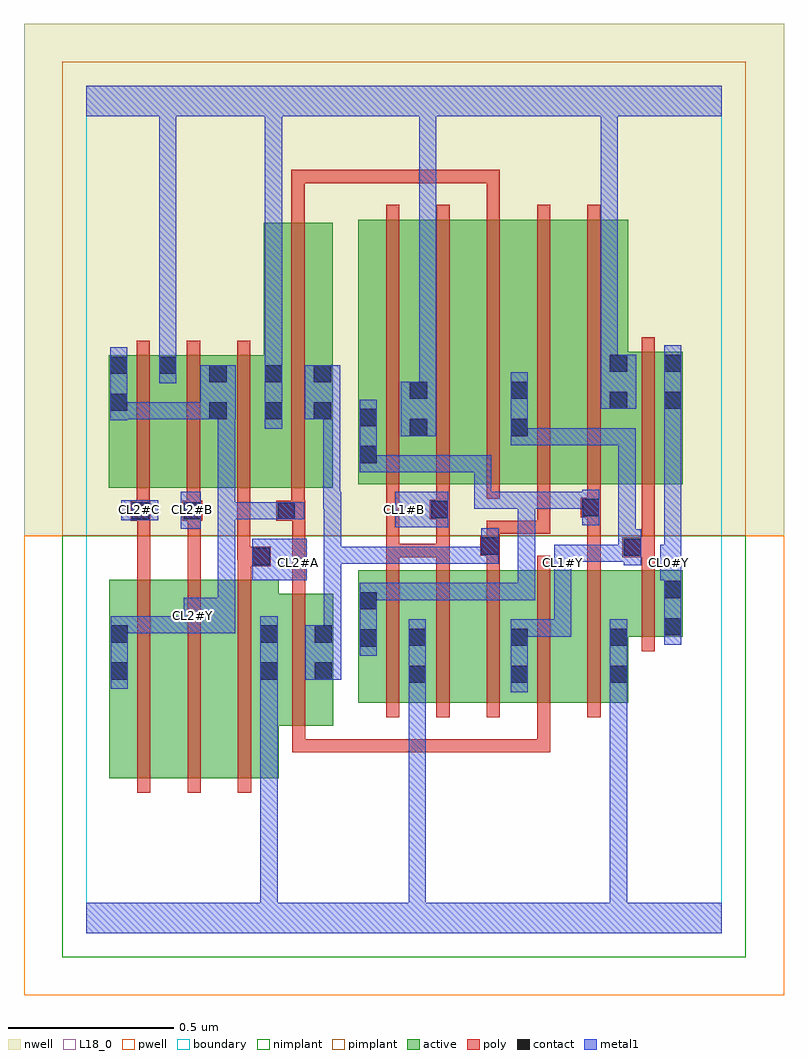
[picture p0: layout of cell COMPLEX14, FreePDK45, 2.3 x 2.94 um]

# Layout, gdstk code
import gdstk
lib = gdstk.Library(unit=1e-6, precision=1e-09)
def R(c, l, rs):  # rectangles x0, y0, x1, y1
    for r in rs: c.add(gdstk.rectangle(r[:2], r[2:], *l))
def A(c, l, x, y, w, h, nx, ny, dx, dy):  # array of equal rectangles
    R(c, l, [(x+i*dx, y+j*dy, x+i*dx+w, y+j*dy+h) for i in range(nx) for j in range(ny)])
active = (1, 0)
pwell = (2, 0)
nwell = (3, 0)
nimplant = (4, 0)
pimplant = (5, 0)
poly = (9, 0)
contact = (10, 0)
metal1 = (11, 0)
L18_0 = (18, 0)
boundary = (235, 0)

complex14 = lib.new_cell('COMPLEX14')
R(complex14, active, [(0.07,0.468,0.25,1.068), (0.25,0.468,0.402,1.068), (0.402,0.468,0.582,1.068), (0.07,0.556,0.13,1.068), (0.522,0.626,0.746,1.026), (0.822,0.696,1.03,1.096), (0.97,0.696,1.154,1.096), (1.154,0.696,1.338,1.096), (1.278,0.696,1.458,1.096), (1.458,0.696,1.638,1.096), (0.97,0.752,1.03,0.924), (1.278,0.752,1.338,0.924), (1.578,0.752,1.638,0.952), (0.522,0.756,0.582,0.934), (0.686,0.756,0.746,1.026), (0.822,0.756,0.882,1.096), (1.578,0.896,1.802,1.096), (1.742,0.896,1.802,1.096), (0.068,1.346,0.276,1.746), (0.068,1.346,0.128,1.746), (0.216,1.346,0.428,1.746), (0.368,1.346,0.596,1.746), (0.536,1.346,0.744,2.146), (0.684,1.346,0.744,2.044), (0.822,1.356,1.034,2.156), (0.822,1.356,0.882,2.044), (0.974,1.356,1.154,2.156), (1.154,1.356,1.338,2.156), (1.278,1.356,1.458,2.156), (1.458,1.356,1.638,2.156), (1.578,1.356,1.802,1.756), (1.742,1.356,1.802,1.756), (0.536,1.366,0.596,2.146), (1.578,1.416,1.638,1.752), (0.368,1.418,0.428,1.746), (0.974,1.498,1.034,2.044), (1.278,1.498,1.338,2.044), (0.216,1.556,0.276,1.746)])
R(complex14, pwell, [(-0.188,-0.188,2.108,1.2)])
R(complex14, nwell, [(-0.188,1.2,2.108,2.748)])
R(complex14, nimplant, [(-0.072,-0.072,1.992,1.2)])
R(complex14, pimplant, [(-0.072,1.2,1.992,2.632)])
A(complex14, poly, 0.154, 0.424, 0.04, 0.688, 3, 1, 0.152, 0)
A(complex14, poly, 0.906, 0.652, 0.04, 0.488, 5, 1, 0.152, 0)
A(complex14, poly, 0.152, 1.302, 0.04, 0.488, 3, 1, 0.152, 0)
A(complex14, poly, 0.906, 1.312, 0.04, 0.888, 5, 1, 0.152, 0)
R(complex14, poly, [(0.622,0.546,0.662,0.586), (0.622,0.546,0.662,0.622), (0.622,0.546,0.84,0.586), (0.8,0.546,0.84,0.586), (0.8,0.546,0.84,0.586), (0.8,0.546,0.84,0.586), (0.8,0.546,0.946,0.586), (0.906,0.546,0.946,0.586), (0.906,0.546,0.946,0.586), (0.906,0.546,0.946,0.586), (0.906,0.546,1.052,0.586), (1.012,0.546,1.052,0.586), (1.012,0.546,1.052,0.586), (1.012,0.546,1.052,0.586), (1.012,0.546,1.23,0.586), (1.19,0.546,1.23,0.586), (1.19,0.546,1.402,0.586), (1.362,0.546,1.402,0.586), (1.362,0.546,1.402,0.586), (1.362,0.546,1.402,0.586), (1.362,0.546,1.402,0.692), (0.622,0.582,0.662,1.07), (1.678,0.852,1.718,1.14), (0.622,1.03,0.662,1.286), (0.154,1.072,0.194,1.286), (0.306,1.072,0.346,1.286), (0.458,1.072,0.498,1.148), (0.906,1.1,0.946,1.176), (1.058,1.1,1.098,1.176), (1.21,1.1,1.25,1.18), (1.514,1.1,1.554,1.296), (1.678,1.1,1.718,1.176), (0.458,1.108,0.558,1.168), (0.456,1.128,0.496,1.342), (0.456,1.128,0.498,1.168), (0.458,1.128,0.498,1.168), (0.906,1.136,0.946,1.176), (0.906,1.136,0.946,1.176), (0.906,1.136,0.946,1.176), (0.906,1.136,0.946,1.176), (0.906,1.136,0.946,1.176), (0.906,1.136,1.098,1.176), (0.906,1.136,0.946,1.352), (1.058,1.136,1.098,1.176), (1.058,1.136,1.098,1.29), (1.62,1.136,1.718,1.196), (1.19,1.14,1.25,1.2), (1.678,1.156,1.718,1.352), (1.678,1.156,1.718,1.196), (1.678,1.156,1.718,1.196), (1.21,1.16,1.25,1.2), (1.21,1.16,1.25,1.246), (1.21,1.206,1.402,1.246), (1.362,1.206,1.402,1.246), (1.362,1.206,1.402,1.246), (1.362,1.206,1.402,1.246), (1.362,1.206,1.402,1.352), (0.134,1.246,0.194,1.306), (0.154,1.246,0.194,1.286), (0.154,1.246,0.194,1.286), (0.29,1.246,0.35,1.306), (0.306,1.246,0.346,1.286), (0.306,1.246,0.346,1.286), (0.574,1.246,0.662,1.306), (0.622,1.246,0.662,1.286), (0.622,1.246,0.662,1.286), (1.038,1.25,1.098,1.31), (1.494,1.256,1.554,1.316), (1.514,1.256,1.554,1.296), (1.514,1.256,1.554,1.296), (0.152,1.266,0.192,1.342), (0.304,1.266,0.344,1.342), (0.62,1.266,0.66,1.342), (1.058,1.27,1.098,1.352), (1.514,1.276,1.554,1.352), (0.62,1.302,0.66,2.19), (1.678,1.312,1.718,1.8), (0.62,2.15,0.66,2.306), (1.21,2.16,1.25,2.306), (0.62,2.266,0.66,2.306), (0.62,2.266,0.84,2.306), (0.8,2.266,0.84,2.306), (0.8,2.266,0.84,2.306), (0.8,2.266,0.84,2.306), (0.8,2.266,0.946,2.306), (0.906,2.266,0.946,2.306), (0.906,2.266,0.946,2.306), (0.906,2.266,0.946,2.306), (0.906,2.266,1.124,2.306), (1.084,2.266,1.124,2.306), (1.084,2.266,1.124,2.306), (1.084,2.266,1.124,2.306), (1.084,2.266,1.25,2.306), (1.21,2.266,1.25,2.306)])
R(complex14, contact, [(0.974,0.756,1.026,0.808), (1.282,0.756,1.334,0.808), (1.582,0.756,1.634,0.808), (0.074,0.766,0.126,0.818), (0.526,0.766,0.578,0.818), (0.69,0.766,0.742,0.818), (0.826,0.866,0.878,0.918), (0.974,0.868,1.026,0.92), (1.282,0.868,1.334,0.92), (1.582,0.868,1.634,0.92), (0.074,0.878,0.126,0.93), (0.526,0.878,0.578,0.93), (0.69,0.878,0.742,0.93), (1.746,0.9,1.798,0.952), (0.826,0.978,0.878,1.03), (1.746,1.012,1.798,1.064), (0.502,1.112,0.554,1.164), (1.624,1.14,1.676,1.192), (1.194,1.144,1.246,1.196), (0.138,1.25,0.19,1.302), (0.294,1.25,0.346,1.302), (0.578,1.25,0.63,1.302), (1.042,1.254,1.094,1.306), (1.498,1.26,1.55,1.312), (0.826,1.42,0.878,1.472), (0.978,1.502,1.03,1.554), (1.282,1.502,1.334,1.554), (0.826,1.532,0.878,1.584), (0.372,1.552,0.424,1.604), (0.54,1.552,0.592,1.604), (0.688,1.552,0.74,1.604), (0.072,1.578,0.124,1.63), (1.582,1.584,1.634,1.636), (1.746,1.584,1.798,1.636), (0.978,1.614,1.03,1.666), (1.282,1.614,1.334,1.666), (0.372,1.664,0.424,1.716), (0.54,1.664,0.592,1.716), (0.688,1.664,0.74,1.716), (0.072,1.69,0.124,1.742), (0.22,1.69,0.272,1.742), (1.582,1.696,1.634,1.748), (1.746,1.696,1.798,1.748)])
R(complex14, metal1, [(0,0,1.92,0.092), (0.526,0.04,0.578,0.092), (0.526,0.04,0.578,0.092), (0.526,0.04,0.578,0.092), (0.526,0.04,0.578,0.092), (0.526,0.04,0.578,0.092), (0.526,0.04,0.578,0.092), (0.526,0.04,0.578,0.79), (0.974,0.04,1.026,0.092), (0.974,0.04,1.026,0.092), (0.974,0.04,1.026,0.092), (0.974,0.04,1.026,0.092), (0.974,0.04,1.026,0.092), (0.974,0.04,1.026,0.092), (0.974,0.04,1.026,0.092), (0.974,0.04,1.026,0.092), (0.974,0.04,1.026,0.78), (1.582,0.04,1.634,0.092), (1.582,0.04,1.634,0.092), (1.582,0.04,1.634,0.092), (1.582,0.04,1.634,0.092), (1.582,0.04,1.634,0.092), (1.582,0.04,1.634,0.092), (1.582,0.04,1.634,0.092), (1.582,0.04,1.634,0.092), (1.582,0.04,1.634,0.092), (1.582,0.04,1.634,0.092), (1.582,0.04,1.634,0.092), (1.582,0.04,1.634,0.092), (1.582,0.04,1.634,0.78), (0.974,0.728,1.026,0.78), (0.974,0.728,1.026,0.78), (0.974,0.728,1.026,0.78), (0.974,0.728,1.026,0.78), (0.974,0.728,1.026,0.948), (1.282,0.728,1.334,0.948), (1.582,0.728,1.634,0.948), (0.074,0.738,0.126,0.958), (0.526,0.738,0.578,0.79), (0.526,0.738,0.578,0.79), (0.526,0.738,0.578,0.958), (0.662,0.766,0.77,0.93), (0.826,0.838,0.878,1.058), (1.746,0.872,1.798,1.092), (0.718,0.878,0.77,1.168), (1.282,0.896,1.356,0.948), (1.304,0.896,1.356,0.948), (1.304,0.896,1.466,0.948), (1.414,0.896,1.466,0.948), (1.414,0.896,1.466,0.948), (1.414,0.896,1.466,0.948), (1.414,0.896,1.466,1.118), (0.074,0.906,0.126,0.958), (0.074,0.906,0.126,0.958), (0.074,0.906,0.236,0.958), (0.184,0.906,0.236,0.958), (0.184,0.906,0.236,0.958), (0.184,0.906,0.236,0.958), (0.184,0.906,0.346,0.958), (0.294,0.906,0.346,0.958), (0.294,0.906,0.346,0.958), (0.294,0.906,0.45,1.014), (0.398,0.962,0.45,1.302), (0.826,1.006,0.878,1.058), (0.826,1.006,0.878,1.058), (0.826,1.006,0.988,1.058), (0.936,1.006,0.988,1.058), (0.936,1.006,0.988,1.058), (0.936,1.006,0.988,1.058), (0.936,1.006,1.208,1.058), (1.156,1.006,1.208,1.058), (1.156,1.006,1.208,1.058), (1.156,1.006,1.208,1.058), (1.156,1.006,1.356,1.058), (1.304,1.006,1.356,1.058), (1.304,1.006,1.356,1.058), (1.304,1.006,1.356,1.058), (1.304,1.006,1.356,1.334), (1.746,1.04,1.798,1.118), (0.502,1.066,0.666,1.192), (1.414,1.066,1.466,1.174), (1.734,1.066,1.798,1.174), (1.624,1.112,1.676,1.22), (0.718,1.116,0.77,1.168), (0.718,1.116,0.878,1.168), (0.718,1.116,0.77,1.334), (0.826,1.116,0.878,1.168), (0.826,1.116,0.878,1.168), (0.826,1.116,0.878,1.168), (0.826,1.116,1.098,1.168), (1.046,1.116,1.098,1.168), (1.046,1.116,1.098,1.168), (1.046,1.116,1.098,1.168), (1.046,1.116,1.224,1.168), (1.172,1.116,1.224,1.168), (1.172,1.116,1.246,1.168), (1.194,1.116,1.246,1.224), (1.414,1.122,1.466,1.174), (1.414,1.122,1.466,1.174), (1.414,1.122,1.66,1.174), (1.608,1.122,1.66,1.174), (1.608,1.122,1.66,1.174), (1.608,1.122,1.66,1.174), (1.608,1.122,1.676,1.174), (1.608,1.122,1.66,1.526), (1.746,1.122,1.798,1.608), (0.286,1.222,0.346,1.334), (0.934,1.226,1.094,1.334), (1.498,1.232,1.55,1.34), (0.106,1.248,0.218,1.308), (0.398,1.25,0.45,1.302), (0.398,1.25,0.456,1.302), (0.398,1.25,0.45,1.604), (0.404,1.25,0.456,1.302), (0.404,1.25,0.602,1.302), (0.55,1.25,0.602,1.302), (0.55,1.25,0.602,1.302), (0.55,1.25,0.658,1.302), (0.716,1.282,0.768,1.604), (0.716,1.282,0.77,1.334), (1.172,1.282,1.224,1.334), (1.172,1.282,1.224,1.334), (1.172,1.282,1.224,1.334), (1.172,1.282,1.356,1.334), (1.172,1.282,1.224,1.444), (1.304,1.282,1.356,1.334), (1.304,1.282,1.356,1.334), (1.304,1.282,1.356,1.334), (1.304,1.282,1.496,1.334), (1.444,1.282,1.496,1.334), (1.444,1.282,1.55,1.334), (0.826,1.392,0.878,1.444), (0.826,1.392,0.878,1.444), (0.826,1.392,0.878,1.612), (0.826,1.392,0.988,1.444), (0.936,1.392,0.988,1.444), (0.936,1.392,0.988,1.444), (0.936,1.392,0.988,1.444), (0.936,1.392,1.224,1.444), (1.172,1.392,1.224,1.444), (1.282,1.474,1.334,1.694), (1.282,1.474,1.356,1.526), (1.304,1.474,1.356,1.526), (1.304,1.474,1.466,1.526), (1.414,1.474,1.466,1.526), (1.414,1.474,1.466,1.526), (1.414,1.474,1.466,1.526), (1.414,1.474,1.66,1.526), (1.608,1.474,1.66,1.526), (0.95,1.502,1.058,1.666), (0.54,1.524,0.592,1.744), (0.072,1.55,0.124,1.77), (0.072,1.552,0.124,1.604), (0.072,1.552,0.124,1.604), (0.072,1.552,0.236,1.604), (0.184,1.552,0.236,1.604), (0.184,1.552,0.236,1.604), (0.184,1.552,0.236,1.604), (0.184,1.552,0.396,1.604), (0.344,1.552,0.452,1.716), (0.66,1.552,0.768,1.716), (1.746,1.556,1.798,1.608), (1.746,1.556,1.798,1.608), (1.746,1.556,1.798,1.776), (1.554,1.584,1.662,1.748), (1.006,1.614,1.058,2.52), (0.22,1.662,0.272,1.77), (0.54,1.692,0.592,1.744), (0.54,1.692,0.592,1.744), (0.54,1.692,0.592,2.52), (1.554,1.696,1.606,1.748), (1.554,1.696,1.606,1.748), (1.554,1.696,1.606,1.748), (1.554,1.696,1.606,1.748), (1.554,1.696,1.606,2.52), (0.22,1.718,0.272,1.77), (0.22,1.718,0.272,1.77), (0.22,1.718,0.272,1.77), (0.22,1.718,0.272,1.77), (0.22,1.718,0.272,1.77), (0.22,1.718,0.272,1.77), (0.22,1.718,0.272,2.52), (0,2.468,1.92,2.56), (0.22,2.468,0.272,2.52), (0.22,2.468,0.272,2.52), (0.22,2.468,0.272,2.52), (0.22,2.468,0.272,2.52), (0.22,2.468,0.272,2.52), (0.22,2.468,0.272,2.52), (0.22,2.468,0.272,2.52), (0.22,2.468,0.272,2.52), (0.22,2.468,0.272,2.52), (0.22,2.468,0.272,2.52), (0.54,2.468,0.592,2.52), (0.54,2.468,0.592,2.52), (0.54,2.468,0.592,2.52), (0.54,2.468,0.592,2.52), (0.54,2.468,0.592,2.52), (0.54,2.468,0.592,2.52), (1.006,2.468,1.058,2.52), (1.006,2.468,1.058,2.52), (1.006,2.468,1.058,2.52), (1.006,2.468,1.058,2.52), (1.006,2.468,1.058,2.52), (1.006,2.468,1.058,2.52), (1.006,2.468,1.058,2.52), (1.006,2.468,1.058,2.52), (1.554,2.468,1.606,2.52), (1.554,2.468,1.606,2.52), (1.554,2.468,1.606,2.52), (1.554,2.468,1.606,2.52)])
R(complex14, L18_0, [(0,0,1.92,0.092), (0.526,0.04,0.578,0.092), (0.526,0.04,0.578,0.092), (0.526,0.04,0.578,0.092), (0.526,0.04,0.578,0.092), (0.526,0.04,0.578,0.092), (0.526,0.04,0.578,0.092), (0.526,0.04,0.578,0.79), (0.974,0.04,1.026,0.092), (0.974,0.04,1.026,0.092), (0.974,0.04,1.026,0.092), (0.974,0.04,1.026,0.092), (0.974,0.04,1.026,0.092), (0.974,0.04,1.026,0.092), (0.974,0.04,1.026,0.092), (0.974,0.04,1.026,0.092), (0.974,0.04,1.026,0.78), (1.582,0.04,1.634,0.092), (1.582,0.04,1.634,0.092), (1.582,0.04,1.634,0.092), (1.582,0.04,1.634,0.092), (1.582,0.04,1.634,0.092), (1.582,0.04,1.634,0.092), (1.582,0.04,1.634,0.092), (1.582,0.04,1.634,0.092), (1.582,0.04,1.634,0.092), (1.582,0.04,1.634,0.092), (1.582,0.04,1.634,0.092), (1.582,0.04,1.634,0.092), (1.582,0.04,1.634,0.78), (0.974,0.728,1.026,0.948), (0.974,0.728,1.026,0.78), (0.974,0.728,1.026,0.78), (0.974,0.728,1.026,0.78), (0.974,0.728,1.026,0.78), (1.282,0.728,1.334,0.948), (1.582,0.728,1.634,0.948), (0.074,0.738,0.126,0.958), (0.526,0.738,0.578,0.958), (0.526,0.738,0.578,0.79), (0.526,0.738,0.578,0.79), (1.746,0.872,1.798,1.092), (1.282,0.896,1.356,0.948), (1.304,0.896,1.356,0.948), (1.304,0.896,1.466,0.948), (1.414,0.896,1.466,0.948), (1.414,0.896,1.466,0.948), (1.414,0.896,1.466,0.948), (1.414,0.896,1.466,1.118), (0.074,0.906,0.126,0.958), (0.074,0.906,0.126,0.958), (0.074,0.906,0.236,0.958), (0.184,0.906,0.236,0.958), (0.184,0.906,0.236,0.958), (0.184,0.906,0.236,0.958), (0.184,0.906,0.346,0.958), (0.294,0.906,0.346,0.958), (0.294,0.906,0.346,0.958), (0.294,0.906,0.45,1.014), (0.294,0.934,0.346,0.986), (0.398,0.962,0.45,1.302), (1.746,1.04,1.798,1.118), (0.502,1.066,0.666,1.192), (1.414,1.066,1.466,1.174), (1.734,1.066,1.798,1.174), (0.614,1.094,0.666,1.146), (1.414,1.094,1.466,1.146), (1.734,1.094,1.786,1.146), (1.624,1.112,1.676,1.22), (1.414,1.122,1.466,1.174), (1.414,1.122,1.466,1.174), (1.414,1.122,1.66,1.174), (1.608,1.122,1.66,1.174), (1.608,1.122,1.66,1.174), (1.608,1.122,1.66,1.174), (1.608,1.122,1.66,1.526), (1.608,1.122,1.676,1.174), (1.746,1.122,1.798,1.608), (0.286,1.222,0.346,1.334), (0.934,1.226,1.094,1.334), (0.106,1.248,0.218,1.308), (0.398,1.25,0.45,1.302), (0.398,1.25,0.45,1.604), (0.398,1.25,0.456,1.302), (0.404,1.25,0.456,1.302), (0.404,1.25,0.602,1.302), (0.55,1.25,0.602,1.302), (0.55,1.25,0.602,1.302), (0.55,1.25,0.658,1.302), (0.134,1.254,0.186,1.306), (0.294,1.254,0.346,1.306), (0.934,1.254,0.986,1.306), (1.282,1.474,1.334,1.694), (1.282,1.474,1.356,1.526), (1.304,1.474,1.356,1.526), (1.304,1.474,1.466,1.526), (1.414,1.474,1.466,1.526), (1.414,1.474,1.466,1.526), (1.414,1.474,1.466,1.526), (1.414,1.474,1.66,1.526), (1.608,1.474,1.66,1.526), (0.95,1.502,1.058,1.666), (0.54,1.524,0.592,1.744), (0.072,1.55,0.124,1.77), (0.072,1.552,0.124,1.604), (0.072,1.552,0.124,1.604), (0.072,1.552,0.236,1.604), (0.184,1.552,0.236,1.604), (0.184,1.552,0.236,1.604), (0.184,1.552,0.236,1.604), (0.184,1.552,0.396,1.604), (0.344,1.552,0.452,1.716), (1.746,1.556,1.798,1.776), (1.746,1.556,1.798,1.608), (1.746,1.556,1.798,1.608), (1.554,1.584,1.662,1.748), (1.006,1.614,1.058,2.52), (0.22,1.662,0.272,1.77), (0.54,1.692,0.592,1.744), (0.54,1.692,0.592,1.744), (0.54,1.692,0.592,2.52), (1.554,1.696,1.606,1.748), (1.554,1.696,1.606,1.748), (1.554,1.696,1.606,1.748), (1.554,1.696,1.606,1.748), (1.554,1.696,1.606,2.52), (0.22,1.718,0.272,1.77), (0.22,1.718,0.272,1.77), (0.22,1.718,0.272,1.77), (0.22,1.718,0.272,1.77), (0.22,1.718,0.272,1.77), (0.22,1.718,0.272,1.77), (0.22,1.718,0.272,2.52), (0,2.468,1.92,2.56), (0.22,2.468,0.272,2.52), (0.22,2.468,0.272,2.52), (0.22,2.468,0.272,2.52), (0.22,2.468,0.272,2.52), (0.22,2.468,0.272,2.52), (0.22,2.468,0.272,2.52), (0.22,2.468,0.272,2.52), (0.22,2.468,0.272,2.52), (0.22,2.468,0.272,2.52), (0.22,2.468,0.272,2.52), (0.54,2.468,0.592,2.52), (0.54,2.468,0.592,2.52), (0.54,2.468,0.592,2.52), (0.54,2.468,0.592,2.52), (0.54,2.468,0.592,2.52), (0.54,2.468,0.592,2.52), (1.006,2.468,1.058,2.52), (1.006,2.468,1.058,2.52), (1.006,2.468,1.058,2.52), (1.006,2.468,1.058,2.52), (1.006,2.468,1.058,2.52), (1.006,2.468,1.058,2.52), (1.006,2.468,1.058,2.52), (1.006,2.468,1.058,2.52), (1.554,2.468,1.606,2.52), (1.554,2.468,1.606,2.52), (1.554,2.468,1.606,2.52), (1.554,2.468,1.606,2.52)])
R(complex14, boundary, [(0,0,1.92,2.56)])
complex14.add(gdstk.Label('CL0#Y', (1.76,1.12), layer=11, texttype=0))
complex14.add(gdstk.Label('CL1#B', (0.96,1.28), layer=11, texttype=0))
complex14.add(gdstk.Label('CL1#Y', (1.44,1.12), layer=11, texttype=0))
complex14.add(gdstk.Label('CL2#A', (0.64,1.12), layer=11, texttype=0))
complex14.add(gdstk.Label('CL2#B', (0.32,1.28), layer=11, texttype=0))
complex14.add(gdstk.Label('CL2#C', (0.16,1.28), layer=11, texttype=0))
complex14.add(gdstk.Label('CL2#Y', (0.32,0.96), layer=11, texttype=0))

lib.write_gds('COMPLEX14.gds')
